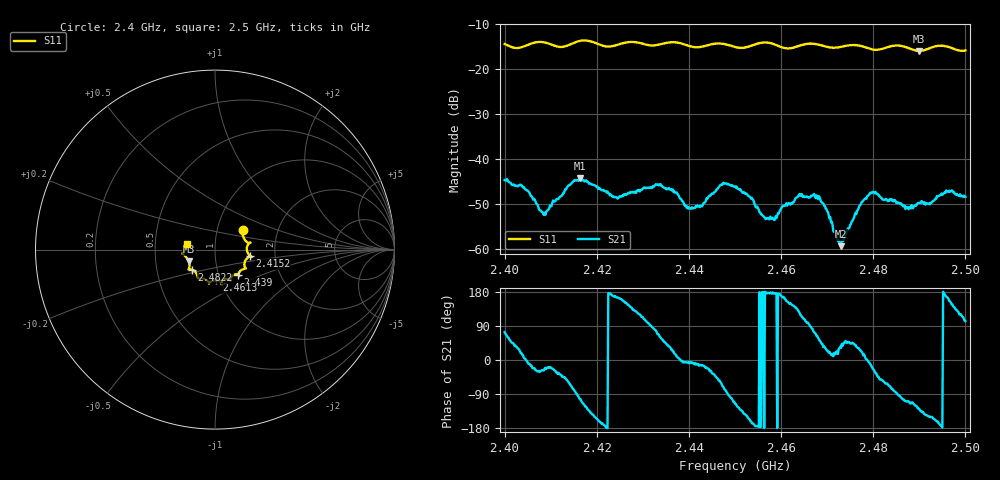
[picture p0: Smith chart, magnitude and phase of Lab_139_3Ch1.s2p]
# Hz S RI R 50
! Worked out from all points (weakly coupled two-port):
!   601 points, 2.4 GHz to 2.5 GHz, reference 50 ohm
!   highest |S21| = -44.24 dB at 2.4163 GHz (marker M1); lowest = -59.3 dB at 2.473 GHz (marker M2)
!   lowest |S11| = -15.9 dB at 2.49 GHz (marker M3), VSWR 1.38, Z = 36.9 - j4.86 ohm
!   |S11| at or under -10 dB: start of sweep to end of sweep
!   S12 and S22 are empty: the file has one direction only
!   S11 on the Smith chart (normalised r, x): 2.4 GHz: 1.33, +0.31; 2.4152 GHz: 1.48, -0.11; 2.439 GHz: 1.24, -0.36; 2.4613 GHz: 0.96, -0.34; 2.4822 GHz: 0.76, -0.17; 2.5 GHz: 0.72, +0.05
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2.4e9  0.1562 0.1107  0.00169 0.00564  0 0  0 0
2.403833e9  0.1698 0.0501  0.00495 0.00119  0 0  0 0
2.4085e9  0.1961 0.0395  0.00215 -0.00112  0 0  0 0
2.415167e9  0.1948 -0.0359  0.000886 -0.00582  0 0  0 0
2.416333e9  0.2031 -0.0411  -0.00142 -0.00597  0 0  0 0
2.416667e9  0.2044 -0.0418  -0.00188 -0.00553  0 0  0 0
2.424167e9  0.1637 -0.0867  -0.00372 0.000918  0 0  0 0
2.433333e9  0.1331 -0.1325  0.00194 0.00489  0 0  0 0
2.439e9  0.1284 -0.1392  0.00309 -0.000332  0 0  0 0
2.4425e9  0.0943 -0.1499  0.00298 -0.00068  0 0  0 0
2.45e9  0.0684 -0.1639  -0.00215 -0.00453  0 0  0 0
2.457e9  0.0398 -0.1942  -0.00222 0.000137  0 0  0 0
2.461333e9  0.00778 -0.1707  -0.00277 0.00134  0 0  0 0
2.466667e9  -0.0334 -0.1901  0.000457 0.00392  0 0  0 0
2.468667e9  -0.0344 -0.1819  0.00238 0.0024  0 0  0 0
2.473e9  -0.0771 -0.1602  0.000924 0.000573  0 0  0 0
2.478833e9  -0.0997 -0.1401  0.00394 -0.000122  0 0  0 0
2.482167e9  -0.1279 -0.1121  0.00199 -0.00296  0 0  0 0
2.483333e9  -0.1392 -0.1105  0.00133 -0.00324  0 0  0 0
2.49e9  -0.147 -0.0642  -0.0021 -0.00253  0 0  0 0
2.496333e9  -0.1768 -0.0164  -0.0041 0.0014  0 0  0 0
2.5e9  -0.1586 0.0334  -0.000822 0.00375  0 0  0 0
